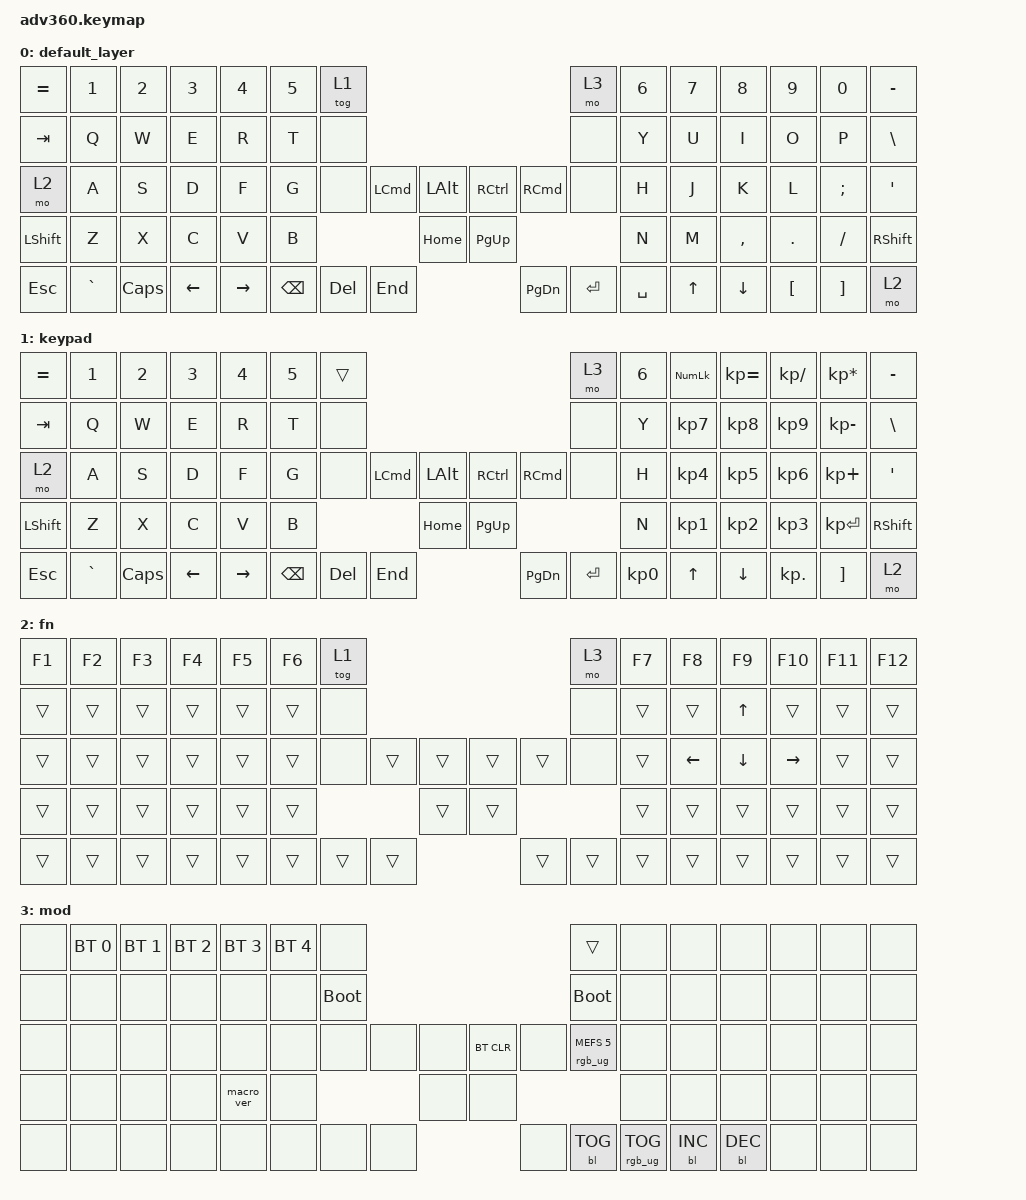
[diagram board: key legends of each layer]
#include <behaviors.dtsi>
#include <dt-bindings/zmk/keys.h>
#include <dt-bindings/zmk/bt.h>
#include <dt-bindings/zmk/rgb.h>
#include <dt-bindings/zmk/backlight.h>

/ {
    combos {
        compatible = "zmk,combos";
        combo_lshift_lcmd {
            timeout-ms = <50>;
            key-positions = <46 35>; /* 46 = left "shift" key, 35 = left "cmd" key */
            bindings = <&macro_ctrl_option_cmd>;
        };
    };

    behaviors {
      #include "macros.dtsi"
      #include "version.dtsi"
      #ifndef VERSION_MACRO
      macro_ver: macro_ver {
        compatible = "zmk,behavior-macro";
        label = "macro_version";
        #binding-cells = <0>;
        bindings = <&kp RET>;
      };
      #endif

      hm: homerow_mods {
          compatible = "zmk,behavior-hold-tap";
          label = "HOMEROW_MODS";
          #binding-cells = <2>;
          tapping-term-ms = <200>;
          quick_tap_ms = <175>;
          flavor = "tap-preferred";
          bindings = <&kp>, <&kp>;
      };
    };

  // DEFAULT
  // ------------------------------------------------------------------------          -------------------------------------------------------------------------
  // |   = +    |    1    |    2    |    3    |    4    |    5    |  [kp]   |          |  [mod]  |    6    |    7    |    8    |    9    |    0     |   - _    |
  // |   TAB    |    Q    |    W    |    E    |    R    |    T    |  None   |          |  None   |    Y    |    U    |    I    |    O    |    P     |   \ |    |
  // |   [fn]   |    A    |    S    |    D    |    F    |    G    |  None   |          |  None   |    H    |    J    |    K    |    L    |    ;     |   ' "    |
  // |  LSHIFT  |    Z    |    X    |    C    |    V    |    B    |----------          ----------|    N    |    M    |    ,    |    .    |    /     |  RSHIFT  |
  // |   ESC    |   ` ~   |  CAPS   |  LEFT   |  RIGHT  |----------                              ----------|   UP    |  DOWN   |    [    |    ]     |          |
  // ----------------------------------------------------                                                  -----------------------------------------------------
  //
  //                                                                        Thumb Cluster
  //                                                       -----------------           ------------------
  //                                                       | LCMD  | LALT  |           | RCTRL |  RCMD  |
  //                                               -------------------------           ---------------------------
  //                                               |       |       | HOME  |           | PG UP |        |        |
  //                                               | BKSP  |  DEL  |--------           --------|  ENTER | SPACE  |
  //                                               |       |       | END   |           | PG DN |        |        |
  //                                               -------------------------           ---------------------------

  keymap {
    compatible = "zmk,keymap";

    default_layer {
      bindings = <
        &kp EQUAL &kp N1    &kp N2   &kp N3   &kp N4     &kp N5 &tog 1                                                           &mo 3 &kp N6 &kp N7 &kp N8    &kp N9   &kp N0   &kp MINUS
        &kp TAB   &kp Q     &kp W    &kp E    &kp R      &kp T  &none                                                            &none &kp Y  &kp U  &kp I     &kp O    &kp P    &kp BSLH
        &mo 2     &kp A     &kp S    &kp D    &kp F      &kp G  &none           &kp LCMD  &kp LALT &kp RCTRL &kp RCMD            &none &kp H  &kp J  &kp K     &kp L    &kp SEMI &kp SQT
        &kp LSHFT &kp Z     &kp X    &kp C    &kp V      &kp B                            &kp HOME &kp PG_UP                           &kp N  &kp M  &kp COMMA &kp DOT  &kp FSLH &kp RSHFT
        &kp ESC   &kp GRAVE &kp CAPS &kp LEFT &kp RIGHT                &kp BSPC &kp DEL   &kp END  &kp PG_DN &kp ENTER &kp SPACE              &kp UP &kp DOWN  &kp LBKT &kp RBKT &mo 2
      >;
    };
    keypad {
      bindings = <
        &kp EQUAL &kp N1    &kp N2   &kp N3   &kp N4     &kp N5 &trans                                                           &mo 3 &kp N6 &kp KP_NUM &kp KP_EQUAL &kp KP_DIVIDE &kp KP_MULTIPLY &kp MINUS
        &kp TAB   &kp Q     &kp W    &kp E    &kp R      &kp T  &none                                                            &none &kp Y  &kp KP_N7  &kp KP_N8    &kp KP_N9     &kp KP_MINUS    &kp BSLH
        &mo 2     &kp A     &kp S    &kp D    &kp F      &kp G  &none           &kp LCMD  &kp LALT &kp RCTRL &kp RCMD            &none &kp H  &kp KP_N4  &kp KP_N5    &kp KP_N6     &kp KP_PLUS     &kp SQT
        &kp LSHFT &kp Z     &kp X    &kp C    &kp V      &kp B                            &kp HOME &kp PG_UP                           &kp N  &kp KP_N1  &kp KP_N2    &kp KP_N3     &kp KP_ENTER    &kp RSHFT
        &kp ESC   &kp GRAVE &kp CAPS &kp LEFT &kp RIGHT                &kp BSPC &kp DEL   &kp END  &kp PG_DN &kp ENTER &kp KP_N0              &kp UP     &kp DOWN     &kp KP_DOT    &kp RBKT        &mo 2
      >;
    };
    fn {
      bindings = <
        &kp F1 &kp F2 &kp F3 &kp F4 &kp F5 &kp F6 &tog 1                                           &mo 3 &kp F7 &kp F8   &kp F9   &kp F10    &kp F11 &kp F12
        &trans &trans &trans &trans &trans &trans  &none                                           &none &trans &trans   &kp UP   &trans     &trans  &trans
        &trans &trans &trans &trans &trans &trans  &none        &trans &trans &trans &trans        &none &trans &kp LEFT &kp DOWN &kp RIGHT  &trans  &trans
        &trans &trans &trans &trans &trans &trans                      &trans &trans                     &trans &trans   &trans   &trans     &trans  &trans
        &trans &trans &trans &trans &trans               &trans &trans &trans &trans &trans &trans              &trans   &trans   &trans     &trans  &trans
      >;
    };
    mod {
      bindings = <
        &none &bt BT_SEL 0 &bt BT_SEL 1 &bt BT_SEL 2 &bt BT_SEL 3 &bt BT_SEL 4 &none                                                                     &trans                 &none        &none        &none        &none &none &none
        &none &none        &none        &none        &none        &none        &bootloader                                                               &bootloader            &none        &none        &none        &none &none &none
        &none &none        &none        &none        &none        &none        &none                   &none &none &bt BT_CLR &none                      &rgb_ug RGB_MEFS_CMD 5 &none        &none        &none        &none &none &none
        &none &none        &none        &none        &macro_ver   &none                                      &none &none                                                        &none        &none        &none        &none &none &none
        &none &none        &none        &none        &none                                       &none &none &none &none      &bl BL_TOG &rgb_ug RGB_TOG                                     &bl BL_INC   &bl BL_DEC   &none &none &none
      >;
    };
  };
};
